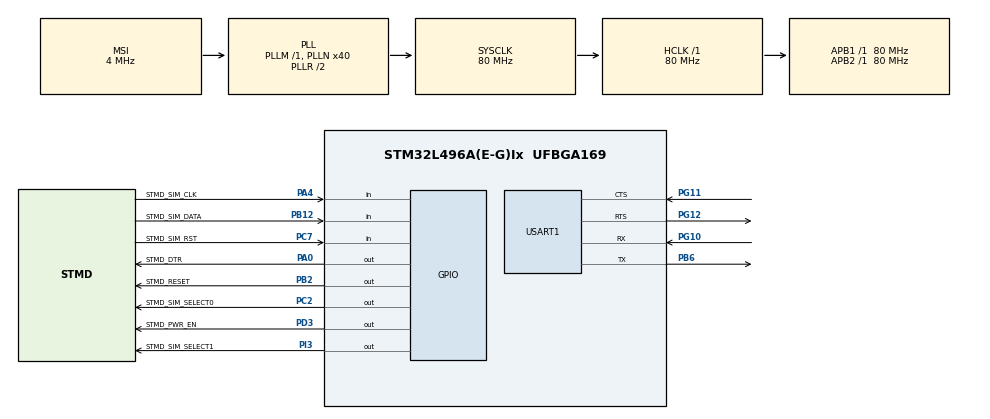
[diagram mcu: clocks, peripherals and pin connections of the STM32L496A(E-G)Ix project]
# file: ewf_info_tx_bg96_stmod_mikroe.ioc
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Mcu.Family=STM32L4
Mcu.Name=STM32L496A(E-G)Ix
Mcu.Package=UFBGA169
NVIC.PriorityGroup=NVIC_PRIORITYGROUP_4
NVIC.TIM6_DAC_IRQn=true\:15\:0\:false\:false\:true\:false\:false\:true\:true
NVIC.TimeBase=TIM6_DAC_IRQn
NVIC.TimeBaseIP=TIM6
NVIC.USART1_IRQn=true\:0\:0\:false\:false\:true\:false\:true\:true\:true
PA0.GPIO_Label=STMD_DTR
PA0.Signal=GPIO_Output
PA13\ (JTMS/SWDIO).Signal=SYS_JTMS-SWDIO
PA14\ (JTCK/SWCLK).Signal=SYS_JTCK-SWCLK
PA4.GPIO_Label=STMD_SIM_CLK
PA4.Signal=GPIO_Input
PB12.GPIO_Label=STMD_SIM_DATA
PB12.Signal=GPIO_Input
PB2.GPIO_Label=STMD_RESET
PB2.PinState=GPIO_PIN_SET
PB2.Signal=GPIO_Output
PB3\ (JTDO/TRACESWO).Signal=SYS_JTDO-SWO
PB6.Mode=Asynchronous
PB6.Signal=USART1_TX
PC2.GPIO_Label=STMD_SIM_SELECT0
PC2.GPIO_PuPd=GPIO_PULLDOWN
PC2.Signal=GPIO_Output
PC7.GPIO_Label=STMD_SIM_RST
PC7.Signal=GPIO_Input
PD3.GPIO_Label=STMD_PWR_EN
PD3.GPIO_PuPd=GPIO_NOPULL
PD3.PinState=GPIO_PIN_SET
PD3.Signal=GPIO_Output
PG10.Mode=Asynchronous
PG10.Signal=USART1_RX
PG11.Mode=CTS_RTS
PG11.Signal=USART1_CTS
PG12.Mode=CTS_RTS
PG12.Signal=USART1_RTS
PI3.GPIO_Label=STMD_SIM_SELECT1
PI3.GPIO_PuPd=GPIO_PULLDOWN
PI3.Signal=GPIO_Output
ProjectManager.HeapSize=0x200
ProjectManager.StackSize=0x400
ProjectManager.TargetToolchain=STM32CubeIDE
RCC.ADCFreq_Value=40000000
RCC.AHBFreq_Value=80000000
RCC.APB1Freq_Value=80000000
RCC.APB1TimFreq_Value=80000000
RCC.APB2Freq_Value=80000000
RCC.APB2TimFreq_Value=80000000
RCC.CortexFreq_Value=80000000
RCC.HCLKFreq_Value=80000000
RCC.HSE_VALUE=8000000
RCC.HSI48_VALUE=48000000
RCC.HSI_VALUE=16000000
RCC.LSE_VALUE=32768
RCC.MSI_VALUE=4000000
RCC.PLLN=40
RCC.PLLSAI1N=20
RCC.SYSCLKFreq_VALUE=80000000
RCC.SYSCLKSource=RCC_SYSCLKSOURCE_PLLCLK
RCC.USBFreq_Value=40000000
RCC.VCOOutputFreq_Value=160000000
STMicroelectronics.X-CUBE-AZRTOS-L4.1.0.0.TX_APP_MEM_POOL_SIZE=512
STMicroelectronics.X-CUBE-AZRTOS-L4.1.0.0.ThreadXCcRTOSJjThreadXJjCore=true
STMicroelectronics.X-CUBE-AZRTOS-L4.1.0.0_IsAnAzureRtosMw=true
USART1.VirtualMode-Asynchronous=VM_ASYNC
VP_STMicroelectronics.X-CUBE-AZRTOS-L4_VS_RTOSJjThreadX_6.1.7_1.0.0.Mode=RTOSJjThreadX
VP_SYS_VS_tim6.Mode=TIM6
board=STM32L496G-DISCO

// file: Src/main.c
/* USER CODE BEGIN Header */
/**
  ******************************************************************************
  * @file           : main.c
  * @brief          : Main program body
  ******************************************************************************
  * @attention
  *
  * Copyright (c) 2022 STMicroelectronics.
  * All rights reserved.
  *
  * This software is licensed under terms that can be found in the LICENSE file
  * in the root directory of this software component.
  * If no LICENSE file comes with this software, it is provided AS-IS.
  *
  ******************************************************************************
  */
/* USER CODE END Header */
#include "main.h"
#include "app_threadx.h"

/* USER CODE BEGIN Includes */

#include <stdio.h>

#include "ewf_lib.c"
#include "ewf_platform_threadx.c"
#include "ewf_allocator.c"
#include "ewf_allocator_threadx.c"
#include "ewf_interface.c"
#include "ewf_interface_stm32_uart.c"
#include "ewf_adapter.c"
#include "ewf_adapter_api_control.c"
#include "ewf_adapter_api_info.c"
#include "ewf_adapter_api_tls_basic.c"
#include "ewf_adapter_api_mqtt_basic.c"
#include "ewf_adapter_api_tcp.c"
#include "ewf_adapter_api_udp.c"
#include "ewf_adapter_api_modem.c"
#include "ewf_adapter_api_modem_general.c"
#include "ewf_adapter_api_modem_network_service.c"
#include "ewf_adapter_api_modem_packet_domain.c"
#include "ewf_adapter_api_modem_sim_utility.c"
#include "ewf_adapter_api_modem_sms.c"
#include "ewf_adapter_quectel_bg96.c"
#include "ewf_example.config.h"

/* USER CODE END Includes */

/* USER CODE BEGIN PTD */
#if defined ( __GNUC__) && !defined(__clang__)
/* With GCC, small printf (option LD Linker->Libraries->Small printf
   set to 'Yes') calls __io_putchar() */
#define PUTCHAR_PROTOTYPE int __io_putchar(int ch)
#else
#define PUTCHAR_PROTOTYPE int fputc(int ch, FILE *f)
#endif /* __GNUC__ */

/* USER CODE END PTD */

UART_HandleTypeDef huart1;

void SystemClock_Config(void);
static void MX_GPIO_Init(void);
static void MX_USART1_UART_Init(void);

/* USER CODE BEGIN 0 */

/**
* @brief  Retargets the C library printf function to the USART.
* @param  None
* @retval None
*/

PUTCHAR_PROTOTYPE
{
    /* Place your implementation of fputc here */
    /* e.g. write a character to the USART1 and Loop until the end of transmission */
    ITM_SendChar(ch);
    return ch;
}

void ewf_adapter_quectel_bg96_stmod_mikroe_power_on()
{
    EWF_LOG("\n\nStarting the STMod+ MIKROE BG96 modem...\n");

    /* Clear the reset pin */
	HAL_GPIO_WritePin(STMD_RESET_GPIO_Port, STMD_RESET_Pin, GPIO_PIN_RESET);

	/* Pulse the reset pin */
	HAL_GPIO_WritePin(STMD_RESET_GPIO_Port, STMD_RESET_Pin, GPIO_PIN_SET);
    ewf_platform_sleep(EWF_PLATFORM_TICKS_PER_SECOND * 500 / 1000);
	HAL_GPIO_WritePin(STMD_RESET_GPIO_Port, STMD_RESET_Pin, GPIO_PIN_RESET);
    ewf_platform_sleep(EWF_PLATFORM_TICKS_PER_SECOND * 500 / 1000);
	HAL_GPIO_WritePin(STMD_RESET_GPIO_Port, STMD_RESET_Pin, GPIO_PIN_SET);

    /* Wait for the modem to reach ready state. "Some time" according to the documentation */
    ewf_platform_sleep(EWF_PLATFORM_TICKS_PER_SECOND * 7);

    /* Initialize the UART */
    MX_USART1_UART_Init();

    EWF_LOG("Ready!\n");
}

void thread_sample_entry(ULONG thread_input)
{
    ewf_result result;

    ewf_allocator* message_allocator_ptr = NULL;
    ewf_interface* interface_ptr = NULL;
    ewf_adapter* adapter_ptr = NULL;

    EWF_ALLOCATOR_THREADX_STATIC_DECLARE(message_allocator_ptr, message_allocator, EWF_CONFIG_MESSAGE_ALLOCATOR_BLOCK_COUNT, EWF_CONFIG_MESSAGE_ALLOCATOR_BLOCK_SIZE);
    EWF_INTERFACE_STM32_UART_STATIC_DECLARE(interface_ptr, stm32_uart_port, &huart1);
    EWF_ADAPTER_QUECTEL_BG96_STATIC_DECLARE(adapter_ptr, quectel_bg96, message_allocator_ptr, NULL, interface_ptr);

    /* Start the STMOD+ MIKROE BG96 modem */
    ewf_adapter_quectel_bg96_stmod_mikroe_power_on();

    /* Start the adapter.  */
    if (ewf_result_failed(result = ewf_adapter_start(adapter_ptr)))
    {
        EWF_LOG_ERROR("Failed to start the adapter: result 0x%08x.", result);
        exit(result);
    }

    // Set the SIM PIN
    if (ewf_result_failed(result = ewf_adapter_modem_sim_pin_enter(adapter_ptr, EWF_CONFIG_SIM_PIN)))
    {
        EWF_LOG_ERROR("Failed to the SIM PIN: result 0x%08x.", result);
        exit(result);
    }

    // Set the ME functionality
    if (ewf_result_failed(result = ewf_adapter_modem_functionality_set(adapter_ptr, "1")))
    {
        EWF_LOG_ERROR("Failed to the ME functionality: result 0x%08x.", result);
        exit(result);
    }

    /* Run the adapter tests.  */
    if (ewf_result_failed(result = ewf_adapter_info(adapter_ptr)))
    {
        EWF_LOG_ERROR("Failed to run the adapter test: result 0x%08x.", result);
    }

    EWF_LOG("\nDone!\n");

    /* Stay here forever.  */
    while (1)
    {
    	EWF_LOG(".");
        tx_thread_sleep(TX_TIMER_TICKS_PER_SECOND);
    }
}
/* USER CODE END 0 */

int main(void)
{

  /* MCU Configuration--------------------------------------------------------*/

  /* Reset of all peripherals, Initializes the Flash interface and the Systick. */
  HAL_Init();

  /* Configure the system clock */
  SystemClock_Config();

  /* Initialize all configured peripherals */
  MX_GPIO_Init();

  MX_ThreadX_Init();

  /* We should never get here as control is now taken by the scheduler */
  /* Infinite loop */
  while (1)
  {

  }
}

void SystemClock_Config(void)
{
  RCC_OscInitTypeDef RCC_OscInitStruct = {0};
  RCC_ClkInitTypeDef RCC_ClkInitStruct = {0};

  /** Configure the main internal regulator output voltage
  */
  if (HAL_PWREx_ControlVoltageScaling(PWR_REGULATOR_VOLTAGE_SCALE1) != HAL_OK)
  {
    Error_Handler();
  }

  /** Initializes the RCC Oscillators according to the specified parameters
  * in the RCC_OscInitTypeDef structure.
  */
  RCC_OscInitStruct.OscillatorType = RCC_OSCILLATORTYPE_MSI;
  RCC_OscInitStruct.MSIState = RCC_MSI_ON;
  RCC_OscInitStruct.MSICalibrationValue = 0;
  RCC_OscInitStruct.MSIClockRange = RCC_MSIRANGE_6;
  RCC_OscInitStruct.PLL.PLLState = RCC_PLL_ON;
  RCC_OscInitStruct.PLL.PLLSource = RCC_PLLSOURCE_MSI;
  RCC_OscInitStruct.PLL.PLLM = 1;
  RCC_OscInitStruct.PLL.PLLN = 40;
  RCC_OscInitStruct.PLL.PLLP = RCC_PLLP_DIV2;
  RCC_OscInitStruct.PLL.PLLQ = RCC_PLLQ_DIV2;
  RCC_OscInitStruct.PLL.PLLR = RCC_PLLR_DIV2;
  if (HAL_RCC_OscConfig(&RCC_OscInitStruct) != HAL_OK)
  {
    Error_Handler();
  }

  /** Initializes the CPU, AHB and APB buses clocks
  */
  RCC_ClkInitStruct.ClockType = RCC_CLOCKTYPE_HCLK|RCC_CLOCKTYPE_SYSCLK
                              |RCC_CLOCKTYPE_PCLK1|RCC_CLOCKTYPE_PCLK2;
  RCC_ClkInitStruct.SYSCLKSource = RCC_SYSCLKSOURCE_PLLCLK;
  RCC_ClkInitStruct.AHBCLKDivider = RCC_SYSCLK_DIV1;
  RCC_ClkInitStruct.APB1CLKDivider = RCC_HCLK_DIV1;
  RCC_ClkInitStruct.APB2CLKDivider = RCC_HCLK_DIV1;

  if (HAL_RCC_ClockConfig(&RCC_ClkInitStruct, FLASH_LATENCY_4) != HAL_OK)
  {
    Error_Handler();
  }
}

static void MX_USART1_UART_Init(void)
{

  huart1.Instance = USART1;
  huart1.Init.BaudRate = 115200;
  huart1.Init.WordLength = UART_WORDLENGTH_8B;
  huart1.Init.StopBits = UART_STOPBITS_1;
  huart1.Init.Parity = UART_PARITY_NONE;
  huart1.Init.Mode = UART_MODE_TX_RX;
  huart1.Init.HwFlowCtl = UART_HWCONTROL_RTS_CTS;
  huart1.Init.OverSampling = UART_OVERSAMPLING_16;
  huart1.Init.OneBitSampling = UART_ONE_BIT_SAMPLE_DISABLE;
  huart1.AdvancedInit.AdvFeatureInit = UART_ADVFEATURE_NO_INIT;
  if (HAL_UART_Init(&huart1) != HAL_OK)
  {
    Error_Handler();
  }

}

static void MX_GPIO_Init(void)
{
  GPIO_InitTypeDef GPIO_InitStruct = {0};

  /* GPIO Ports Clock Enable */
  __HAL_RCC_GPIOB_CLK_ENABLE();
  __HAL_RCC_GPIOA_CLK_ENABLE();
  __HAL_RCC_GPIOI_CLK_ENABLE();
  __HAL_RCC_GPIOG_CLK_ENABLE();
  HAL_PWREx_EnableVddIO2();
  __HAL_RCC_GPIOD_CLK_ENABLE();
  __HAL_RCC_GPIOC_CLK_ENABLE();

  /*Configure GPIO pin Output Level */
  HAL_GPIO_WritePin(STMD_SIM_SELECT1_GPIO_Port, STMD_SIM_SELECT1_Pin, GPIO_PIN_RESET);

  /*Configure GPIO pin Output Level */
  HAL_GPIO_WritePin(STMD_PWR_EN_GPIO_Port, STMD_PWR_EN_Pin, GPIO_PIN_SET);

  /*Configure GPIO pin Output Level */
  HAL_GPIO_WritePin(STMD_SIM_SELECT0_GPIO_Port, STMD_SIM_SELECT0_Pin, GPIO_PIN_RESET);

  /*Configure GPIO pin Output Level */
  HAL_GPIO_WritePin(STMD_DTR_GPIO_Port, STMD_DTR_Pin, GPIO_PIN_RESET);

  /*Configure GPIO pin Output Level */
  HAL_GPIO_WritePin(STMD_RESET_GPIO_Port, STMD_RESET_Pin, GPIO_PIN_SET);

  /*Configure GPIO pin : STMD_SIM_SELECT1_Pin */
  GPIO_InitStruct.Pin = STMD_SIM_SELECT1_Pin;
  GPIO_InitStruct.Mode = GPIO_MODE_OUTPUT_PP;
  GPIO_InitStruct.Pull = GPIO_PULLDOWN;
  GPIO_InitStruct.Speed = GPIO_SPEED_FREQ_LOW;
  HAL_GPIO_Init(STMD_SIM_SELECT1_GPIO_Port, &GPIO_InitStruct);

  /*Configure GPIO pin : STMD_PWR_EN_Pin */
  GPIO_InitStruct.Pin = STMD_PWR_EN_Pin;
  GPIO_InitStruct.Mode = GPIO_MODE_OUTPUT_PP;
  GPIO_InitStruct.Pull = GPIO_NOPULL;
  GPIO_InitStruct.Speed = GPIO_SPEED_FREQ_LOW;
  HAL_GPIO_Init(STMD_PWR_EN_GPIO_Port, &GPIO_InitStruct);

  /*Configure GPIO pin : STMD_SIM_RST_Pin */
  GPIO_InitStruct.Pin = STMD_SIM_RST_Pin;
  GPIO_InitStruct.Mode = GPIO_MODE_INPUT;
  GPIO_InitStruct.Pull = GPIO_NOPULL;
  HAL_GPIO_Init(STMD_SIM_RST_GPIO_Port, &GPIO_InitStruct);

  /*Configure GPIO pin : STMD_SIM_SELECT0_Pin */
  GPIO_InitStruct.Pin = STMD_SIM_SELECT0_Pin;
  GPIO_InitStruct.Mode = GPIO_MODE_OUTPUT_PP;
  GPIO_InitStruct.Pull = GPIO_PULLDOWN;
  GPIO_InitStruct.Speed = GPIO_SPEED_FREQ_LOW;
  HAL_GPIO_Init(STMD_SIM_SELECT0_GPIO_Port, &GPIO_InitStruct);

  /*Configure GPIO pin : STMD_DTR_Pin */
  GPIO_InitStruct.Pin = STMD_DTR_Pin;
  GPIO_InitStruct.Mode = GPIO_MODE_OUTPUT_PP;
  GPIO_InitStruct.Pull = GPIO_NOPULL;
  GPIO_InitStruct.Speed = GPIO_SPEED_FREQ_LOW;
  HAL_GPIO_Init(STMD_DTR_GPIO_Port, &GPIO_InitStruct);

  /*Configure GPIO pin : STMD_SIM_CLK_Pin */
  GPIO_InitStruct.Pin = STMD_SIM_CLK_Pin;
  GPIO_InitStruct.Mode = GPIO_MODE_INPUT;
  GPIO_InitStruct.Pull = GPIO_NOPULL;
  HAL_GPIO_Init(STMD_SIM_CLK_GPIO_Port, &GPIO_InitStruct);

  /*Configure GPIO pin : STMD_RESET_Pin */
  GPIO_InitStruct.Pin = STMD_RESET_Pin;
  GPIO_InitStruct.Mode = GPIO_MODE_OUTPUT_PP;
  GPIO_InitStruct.Pull = GPIO_NOPULL;
  GPIO_InitStruct.Speed = GPIO_SPEED_FREQ_LOW;
  HAL_GPIO_Init(STMD_RESET_GPIO_Port, &GPIO_InitStruct);

  /*Configure GPIO pin : STMD_SIM_DATA_Pin */
  GPIO_InitStruct.Pin = STMD_SIM_DATA_Pin;
  GPIO_InitStruct.Mode = GPIO_MODE_INPUT;
  GPIO_InitStruct.Pull = GPIO_NOPULL;
  HAL_GPIO_Init(STMD_SIM_DATA_GPIO_Port, &GPIO_InitStruct);

}

void HAL_TIM_PeriodElapsedCallback(TIM_HandleTypeDef *htim)
{
  if (htim->Instance == TIM6) {
    HAL_IncTick();
  }
}

void Error_Handler(void)
{
  __disable_irq();
  while (1)
  {
  }
}
